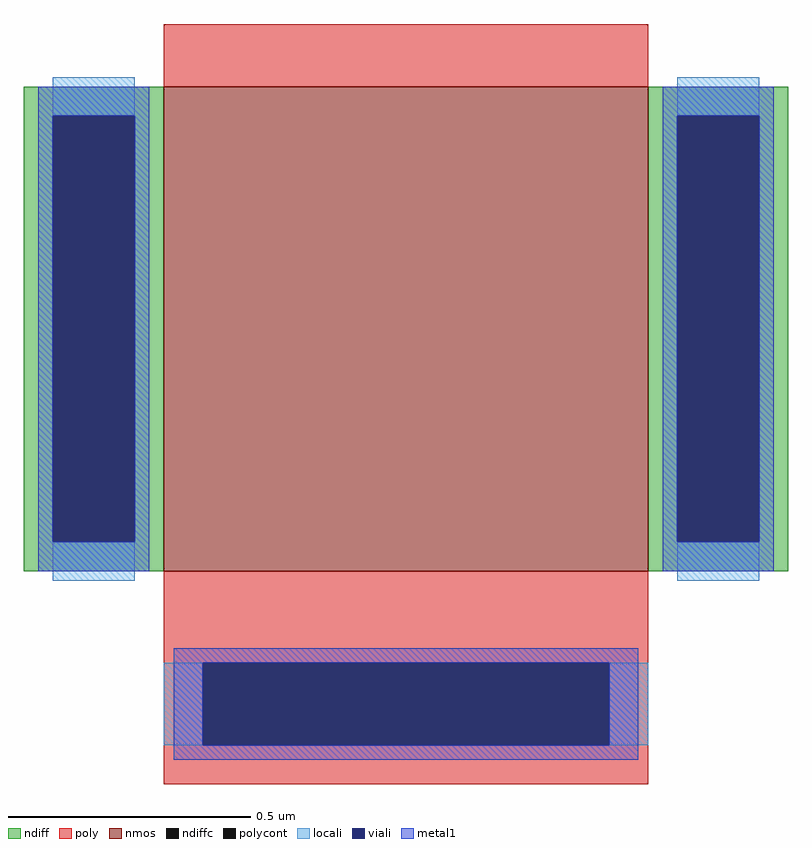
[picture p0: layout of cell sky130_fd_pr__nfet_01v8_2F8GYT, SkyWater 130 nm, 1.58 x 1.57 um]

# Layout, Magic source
magic
tech sky130A
magscale 1 2
<< nmos >>
rect -100 -69 100 131
<< ndiff >>
rect -158 119 -100 131
rect -158 -57 -146 119
rect -112 -57 -100 119
rect -158 -69 -100 -57
rect 100 119 158 131
rect 100 -57 112 119
rect 146 -57 158 119
rect 100 -69 158 -57
<< ndiffc >>
rect -146 -57 -112 119
rect 112 -57 146 119
<< poly >>
rect -100 131 100 157
rect -100 -107 100 -69
rect -100 -141 -84 -107
rect 84 -141 100 -107
rect -100 -157 100 -141
<< polycont >>
rect -84 -141 84 -107
<< locali >>
rect -146 119 -112 135
rect -146 -73 -112 -57
rect 112 119 146 135
rect 112 -73 146 -57
rect -100 -141 -84 -107
rect 84 -141 100 -107
<< viali >>
rect -146 -57 -112 119
rect 112 -57 146 119
rect -84 -141 84 -107
<< metal1 >>
rect -152 119 -106 131
rect -152 -57 -146 119
rect -112 -57 -106 119
rect -152 -69 -106 -57
rect 106 119 152 131
rect 106 -57 112 119
rect 146 -57 152 119
rect 106 -69 152 -57
rect -96 -107 96 -101
rect -96 -141 -84 -107
rect 84 -141 96 -107
rect -96 -147 96 -141
<< properties >>
string gencell sky130_fd_pr__nfet_01v8
string library sky130
string parameters w 1 l 1 m 1 nf 1 diffcov 100 polycov 100 guard 0 glc 1 grc 0 gtc 0 gbc 0 tbcov 100 rlcov 100 topc 0 botc 1 poverlap 0 doverlap 0 lmin 0.15 wmin 0.42 compatible {sky130_fd_pr__nfet_01v8 sky130_fd_pr__nfet_01v8_lvt  sky130_fd_bs_flash__special_sonosfet_star  sky130_fd_pr__nfet_g5v0d10v5 sky130_fd_pr__nfet_05v0_nvt  sky130_fd_pr__nfet_03v3_nvt} full_metal 0 viasrc 100 viadrn 100 viagate 100 viagb 0 viagr 0 viagl 0 viagt 0
<< end >>
